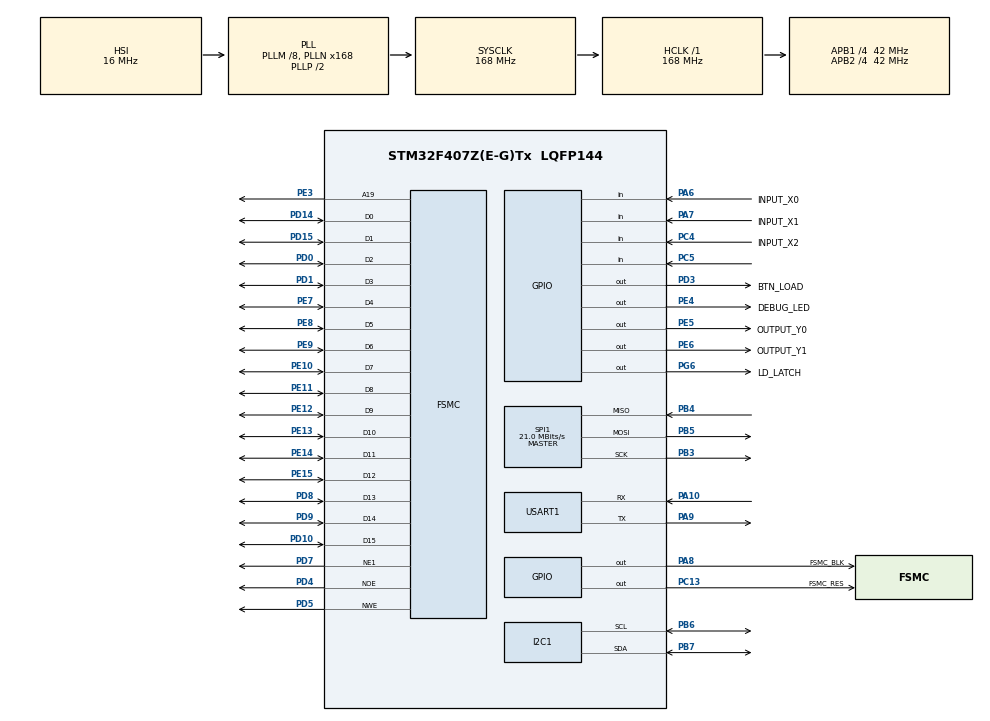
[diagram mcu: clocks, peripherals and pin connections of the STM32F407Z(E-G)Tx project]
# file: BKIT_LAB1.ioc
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FSMC.AddressSetupTime1=0xf
FSMC.BusTurnAroundDuration1=0
FSMC.DataSetupTime1=60
FSMC.ExtendedAddressSetupTime1=8
FSMC.ExtendedDataSetupTime1=9
FSMC.ExtendedMode1=FSMC_EXTENDED_MODE_ENABLE
Mcu.Family=STM32F4
Mcu.Name=STM32F407Z(E-G)Tx
Mcu.Package=LQFP144
NVIC.PriorityGroup=NVIC_PRIORITYGROUP_4
NVIC.TIM2_IRQn=true\:0\:0\:false\:false\:true\:true\:true\:true
NVIC.USART1_IRQn=true\:0\:0\:false\:false\:true\:true\:true\:true
PA10.Mode=Asynchronous
PA10.Signal=USART1_RX
PA13.Mode=Serial_Wire
PA13.Signal=SYS_JTMS-SWDIO
PA14.Mode=Serial_Wire
PA14.Signal=SYS_JTCK-SWCLK
PA6.GPIO_Label=INPUT_X0
PA6.Signal=GPIO_Input
PA7.GPIO_Label=INPUT_X1
PA7.Signal=GPIO_Input
PA8.GPIO_Label=FSMC_BLK
PA8.Signal=GPIO_Output
PA9.Mode=Asynchronous
PA9.Signal=USART1_TX
PB3.Mode=Full_Duplex_Master
PB3.Signal=SPI1_SCK
PB4.Mode=Full_Duplex_Master
PB4.Signal=SPI1_MISO
PB5.Mode=Full_Duplex_Master
PB5.Signal=SPI1_MOSI
PB6.Mode=I2C
PB6.Signal=I2C1_SCL
PB7.Mode=I2C
PB7.Signal=I2C1_SDA
PC13-ANTI_TAMP.GPIO_Label=FSMC_RES
PC13-ANTI_TAMP.Signal=GPIO_Output
PC4.GPIO_Label=INPUT_X2
PC4.Signal=GPIO_Input
PC5.Signal=GPIO_Input
PD0.Signal=FSMC_D2_DA2
PD1.Signal=FSMC_D3_DA3
PD10.Signal=FSMC_D15_DA15
PD14.Signal=FSMC_D0_DA0
PD15.Signal=FSMC_D1_DA1
PD3.GPIO_Label=BTN_LOAD
PD3.Signal=GPIO_Output
PD4.Signal=FSMC_NOE
PD5.Signal=FSMC_NWE
PD7.Mode=NorPsramChipSelect1_1
PD7.Signal=FSMC_NE1
PD8.Signal=FSMC_D13_DA13
PD9.Signal=FSMC_D14_DA14
PE10.Signal=FSMC_D7_DA7
PE11.Signal=FSMC_D8_DA8
PE12.Signal=FSMC_D9_DA9
PE13.Signal=FSMC_D10_DA10
PE14.Signal=FSMC_D11_DA11
PE15.Signal=FSMC_D12_DA12
PE3.Signal=FSMC_A19
PE4.GPIO_Label=DEBUG_LED
PE4.Signal=GPIO_Output
PE5.GPIO_Label=OUTPUT_Y0
PE5.Signal=GPIO_Output
PE6.GPIO_Label=OUTPUT_Y1
PE6.Signal=GPIO_Output
PE7.Signal=FSMC_D4_DA4
PE8.Signal=FSMC_D5_DA5
PE9.Signal=FSMC_D6_DA6
PG6.GPIO_Label=LD_LATCH
PG6.Signal=GPIO_Output
PH0-OSC_IN.Mode=HSE-External-Oscillator
PH0-OSC_IN.Signal=RCC_OSC_IN
PH1-OSC_OUT.Mode=HSE-External-Oscillator
PH1-OSC_OUT.Signal=RCC_OSC_OUT
ProjectManager.HeapSize=0x200
ProjectManager.StackSize=0x400
ProjectManager.TargetToolchain=STM32CubeIDE
RCC.48MHZClocksFreq_Value=84000000
RCC.AHBFreq_Value=168000000
RCC.APB1CLKDivider=RCC_HCLK_DIV4
RCC.APB1Freq_Value=42000000
RCC.APB1TimFreq_Value=84000000
RCC.APB2CLKDivider=RCC_HCLK_DIV4
RCC.APB2Freq_Value=42000000
RCC.APB2TimFreq_Value=84000000
RCC.CortexFreq_Value=168000000
RCC.HCLKFreq_Value=168000000
RCC.HSE_VALUE=8000000
RCC.HSI_VALUE=16000000
RCC.LSE_VALUE=32768
RCC.PLLM=8
RCC.PLLN=168
RCC.SYSCLKFreq_VALUE=168000000
RCC.SYSCLKSource=RCC_SYSCLKSOURCE_PLLCLK
RCC.VCOOutputFreq_Value=336000000
SH.FSMC_A19.0=FSMC_A19,A19_1
SH.FSMC_D0_DA0.0=FSMC_D0,16b-d1
SH.FSMC_D10_DA10.0=FSMC_D10,16b-d1
SH.FSMC_D11_DA11.0=FSMC_D11,16b-d1
SH.FSMC_D12_DA12.0=FSMC_D12,16b-d1
SH.FSMC_D13_DA13.0=FSMC_D13,16b-d1
SH.FSMC_D14_DA14.0=FSMC_D14,16b-d1
SH.FSMC_D15_DA15.0=FSMC_D15,16b-d1
SH.FSMC_D1_DA1.0=FSMC_D1,16b-d1
SH.FSMC_D2_DA2.0=FSMC_D2,16b-d1
SH.FSMC_D3_DA3.0=FSMC_D3,16b-d1
SH.FSMC_D4_DA4.0=FSMC_D4,16b-d1
SH.FSMC_D5_DA5.0=FSMC_D5,16b-d1
SH.FSMC_D6_DA6.0=FSMC_D6,16b-d1
SH.FSMC_D7_DA7.0=FSMC_D7,16b-d1
SH.FSMC_D8_DA8.0=FSMC_D8,16b-d1
SH.FSMC_D9_DA9.0=FSMC_D9,16b-d1
SH.FSMC_NOE.0=FSMC_NOE,Lcd1
SH.FSMC_NWE.0=FSMC_NWE,Lcd1
SPI1.CalculateBaudRate=21.0 MBits/s
SPI1.Direction=SPI_DIRECTION_2LINES
SPI1.Mode=SPI_MODE_MASTER
SPI1.VirtualType=VM_MASTER
TIM2.Period=100-1
TIM2.Prescaler=840-1
USART1.VirtualMode=VM_ASYNC
VP_TIM2_VS_ClockSourceINT.Mode=Internal
board=custom

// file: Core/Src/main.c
/* USER CODE BEGIN Header */
/**
 ******************************************************************************
 * @file           : main.c
 * @brief          : Main program body
 ******************************************************************************
 * @attention
 *
 * Copyright (c) 2025 STMicroelectronics.
 * All rights reserved.
 *
 * This software is licensed under terms that can be found in the LICENSE file
 * in the root directory of this software component.
 * If no LICENSE file comes with this software, it is provided AS-IS.
 *
 ******************************************************************************
 */
/* USER CODE END Header */
#include "main.h"
#include "i2c.h"
#include "spi.h"
#include "tim.h"
#include "usart.h"
#include "gpio.h"
#include "fsmc.h"

/* USER CODE BEGIN Includes */
#include "led.h"
#include "software_timer.h"
#include "led_7seg.h"
#include "lcd.h"
#include "picture.h"
#include "button.h"
#include "uart.h"
#include "ds3231.h"
#include "lab4.h"
#include "stdlib.h"
#include "stdio.h"
// #include "lab2.h"
// #include "lab3.h"
/* USER CODE END Includes */

void SystemClock_Config(void);
/* USER CODE BEGIN PFP */

int IsButtonUp();
int IsButtonDown();
void TestButtonMatrix();
void TestLcd();
void test_Uart();
void updateTime_ds3231();
void displayTime();
// uint32_t ds3231_hours = 12;
// uint32_t ds3231_min = 0;
// uint32_t ds3231_sec = 0;

/* USER CODE END PFP */

int main(void)
{

  /* MCU Configuration--------------------------------------------------------*/

  /* Reset of all peripherals, Initializes the Flash interface and the Systick. */
  HAL_Init();

  /* Configure the system clock */
  SystemClock_Config();

  /* Initialize all configured peripherals */
  MX_GPIO_Init();
  MX_SPI1_Init();
  MX_TIM2_Init();
  MX_FSMC_Init();
  MX_USART1_UART_Init();
  MX_I2C1_Init();
  /* USER CODE BEGIN 2 */

#define DEBUG_LED_TIMER 0

  //  timer2Init();
  //  timer2Setup(50);
  //  led7segInit();
  //  buttonInit();
  //  lcd_init();
  //  Background();

  //  initlab3();
  initLab5();

  // timer2Init();
  // lcd_init();
  // buttonInit();

  // uart_init_rs232();

  /* USER CODE END 2 */

  /* Infinite loop */
  /* USER CODE BEGIN WHILE */

  // example
  //  ds3231_SetAlarm1(ALARM_SKIP, // Bỏ qua Ngày
  //                   0,          // (isDayOfWeek = false)
  //                   ALARM_SKIP, // Bỏ qua Giờ
  //                   ALARM_SKIP, // Bỏ qua Phút
  //                   0);         // Chỉ so khớp Giây = 00
  //
  //  // BẠN CŨNG CẦN BẬT NGẮT ALARM TRONG THANH GHI CONTROL (0x0E)
  //  // (Hàm ds3231_Write của bạn có vẻ bị lỗi, nên ta dùng HAL trực tiếp)
  //  uint8_t control_reg = 0x05; // 0x05 = A1IE + A2IE + INTCN
  //  HAL_I2C_Mem_Write(&hi2c1, DS3231_ADDRESS, 0x0E, I2C_MEMADD_SIZE_8BIT, &control_reg, 1, 100);
  //  // Xóa cờ cũ (nếu có)

  while (1)
  {
    /* USER CODE END WHILE */
    runLab4();
    /* USER CODE BEGIN 3 */

    // test uart and buffer

    // 1. Kiểm tra xem FSM đã nhận xong tin nhắn chưa

    /*if (flag_buffer == 1)
    {
      flag_buffer = 0; // Xóa cờ ngay

      char *end_ptr;
      long received_value = strtol((const char *)msg, &end_ptr, 10);

      // 1. Kiểm tra xem có phải là số hợp lệ không
      if (end_ptr != (const char *)msg && *end_ptr == '\0')
      {
        // 2. Kiểm tra xem số có nằm trong dải của uint16_t không
        if (received_value < 0 || received_value > 65535) // 65535 là giá trị max của uint16_t
        {
          // LỖI: Giá trị nằm ngoài dải cho phép
          uart_Rs232SendString("Loi: So phai nam trong dai tu 0 den 65535.\r\n");
        }
        else
        {
          // THÀNH CÔNG: An toàn để ép kiểu
          uint16_t my_number = (uint16_t)received_value;

          // Ghi chú: Hàm uart_Rs232SendNum của bạn nhận uint32_t.
          // Khi bạn truyền (uint16_t)my_number vào, C sẽ tự động
          // "thăng hạng" (promote) nó lên uint32_t một cách an toàn.

          uart_Rs232SendString("Ban da nhap so hop le: ");
          uart_Rs232SendNum(my_number); // Gửi số đi
          uart_Rs232SendString("\r\n");
        }
      }
      else
      {
        // LỖI: Chuỗi nhập vào không phải là số
        uart_Rs232SendString("Loi: Du lieu nhap vao khong phai la so.\r\n");
      }
    }
    */

    /* USER CODE END 3 */
  }
}

void SystemClock_Config(void)
{
  RCC_OscInitTypeDef RCC_OscInitStruct = {0};
  RCC_ClkInitTypeDef RCC_ClkInitStruct = {0};

  /** Configure the main internal regulator output voltage
   */
  __HAL_RCC_PWR_CLK_ENABLE();
  __HAL_PWR_VOLTAGESCALING_CONFIG(PWR_REGULATOR_VOLTAGE_SCALE1);

  /** Initializes the RCC Oscillators according to the specified parameters
   * in the RCC_OscInitTypeDef structure.
   */
  RCC_OscInitStruct.OscillatorType = RCC_OSCILLATORTYPE_HSI;
  RCC_OscInitStruct.HSIState = RCC_HSI_ON;
  RCC_OscInitStruct.HSICalibrationValue = RCC_HSICALIBRATION_DEFAULT;
  RCC_OscInitStruct.PLL.PLLState = RCC_PLL_ON;
  RCC_OscInitStruct.PLL.PLLSource = RCC_PLLSOURCE_HSI;
  RCC_OscInitStruct.PLL.PLLM = 8;
  RCC_OscInitStruct.PLL.PLLN = 168;
  RCC_OscInitStruct.PLL.PLLP = RCC_PLLP_DIV2;
  RCC_OscInitStruct.PLL.PLLQ = 4;
  if (HAL_RCC_OscConfig(&RCC_OscInitStruct) != HAL_OK)
  {
    Error_Handler();
  }

  /** Initializes the CPU, AHB and APB buses clocks
   */
  RCC_ClkInitStruct.ClockType = RCC_CLOCKTYPE_HCLK | RCC_CLOCKTYPE_SYSCLK | RCC_CLOCKTYPE_PCLK1 | RCC_CLOCKTYPE_PCLK2;
  RCC_ClkInitStruct.SYSCLKSource = RCC_SYSCLKSOURCE_PLLCLK;
  RCC_ClkInitStruct.AHBCLKDivider = RCC_SYSCLK_DIV1;
  RCC_ClkInitStruct.APB1CLKDivider = RCC_HCLK_DIV4;
  RCC_ClkInitStruct.APB2CLKDivider = RCC_HCLK_DIV4;

  if (HAL_RCC_ClockConfig(&RCC_ClkInitStruct, FLASH_LATENCY_5) != HAL_OK)
  {
    Error_Handler();
  }
}

/* USER CODE BEGIN 4 */

void displayTime()
{
  lcd_show_int_num(70, 100, ds3231_hours, 2, GREEN, BLACK, 24);
  lcd_show_int_num(110, 100, ds3231_min, 2, GREEN, BLACK, 24);
  lcd_show_int_num(150, 100, ds3231_sec, 2, GREEN, BLACK, 24);
  lcd_show_int_num(20, 130, ds3231_day, 2, YELLOW, BLACK, 24);
  lcd_show_int_num(70, 130, ds3231_date, 2, YELLOW, BLACK, 24);
  lcd_show_int_num(110, 130, ds3231_month, 2, YELLOW, BLACK, 24);
  lcd_show_int_num(150, 130, ds3231_year, 2, YELLOW, BLACK, 24);
}
void updateTime_ds3231()
{
  ds3231_Write(ADDRESS_YEAR, 23);
  ds3231_Write(ADDRESS_MONTH, 10);
  ds3231_Write(ADDRESS_DATE, 20);
  ds3231_Write(ADDRESS_DAY, 6);
  ds3231_Write(ADDRESS_HOUR, 20);
  ds3231_Write(ADDRESS_MIN, 11);
  ds3231_Write(ADDRESS_SEC, 23);
}
/*code to test the ssytem */
// Button example 1: a button is pressed 1 time (50ms).
int IsButtonDown()
{
  if (buttonCount[0] == 1)
  {
    return 1;
  }
  return 0;
}

// Button example 2:
// Check if a button is pressed 1 time (50ms),
// or if it is held down for more than 1 second, in which case it returns 1 every 100ms.
int IsButtonUp()
{
  if (buttonCount[1] == 1 || (buttonCount[1] > 200 && buttonCount[1] % 2 == 0))
  {
    return 1;
  }
  return 0;
}

void TestButtonMatrix()
{
  for (int i = 0; i < 16; i++)
  {
    if (buttonCount[i] != 0)
    {
      lcd_show_int_num(140, 105, i, 2, BRED, WHITE, 32);
    }
  }
}

void test_Uart()
{
  if (buttonGetState(BUTTON_EN))
  {
    uart_Rs232SendNum(ds3231_hours);
    uart_Rs232SendString(":");
    uart_Rs232SendNum(ds3231_min);
    uart_Rs232SendString(":");
    uart_Rs232SendNum(ds3231_sec);
    uart_Rs232SendString("\n");
  }
}
/* USER CODE END 4 */

void Error_Handler(void)
{
  __disable_irq();
  while (1)
  {
  }
}
